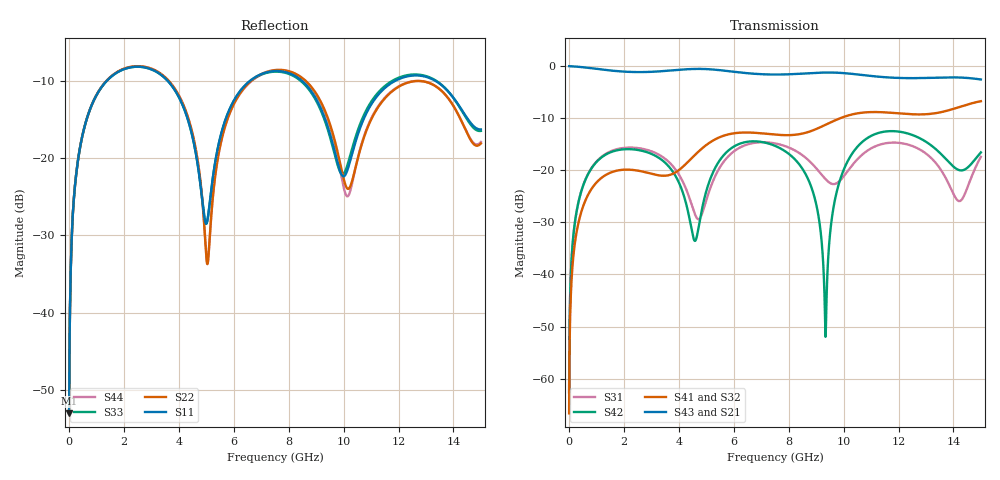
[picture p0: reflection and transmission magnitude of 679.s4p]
! Created with skrf 1.8.0 (http://scikit-rf.org).
# GHz S RI R 50.0
!freq ReS11 ImS11 ReS12 ImS12 ReS13 ImS13
! ReS14 ImS14
! ReS21 ImS21 ReS22 ImS22 ReS23 ImS23
! ReS24 ImS24
! ReS31 ImS31 ReS32 ImS32 ReS33 ImS33
! ReS34 ImS34
! ReS41 ImS41 ReS42 ImS42 ReS43 ImS43
! ReS44 ImS44
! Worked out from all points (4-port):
!   2499 points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, 5 MHz to 15 GHz, reference 50 ohm
!   strongest paths, dB at 5 MHz, 3.476 GHz, 7.19 GHz, 11.1 GHz, 15 GHz:
!     S43: 0.0, -0.9, -1.6, -1.9, -2.6
!     S21: 0.0, -0.9, -1.6, -1.9, -2.6
!     S41: -66.7, -21.1, -13.0, -8.8, -6.7
!     S32: -66.7, -21.1, -13.0, -8.9, -6.7
!     S42: -62.6, -18.4, -14.8, -13.2, -16.6
!     S31: -62.6, -17.7, -14.6, -15.5, -17.4
!   lowest |S11| = -53.0 dB at 5 MHz (marker M1), VSWR 1.00, Z = 50.2 + j0.136 ohm
!   |S11| at or under -10 dB: 3.59 GHz to 6.598 GHz (3.007 GHz wide, 59 % of centre); 8.474 GHz to 11.89 GHz (3.416 GHz wide, 33.5 % of centre); 13.33 GHz to end of sweep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
0.005  0.00179 0.00135  0.9982 -0.00348  9.11e-05 0.000733  -8.82e-05 -0.000456
       0.9982 -0.00348  0.00179 0.00135  -8.82e-05 -0.000456  9.09e-05 0.000733
       9.11e-05 0.000733  -8.82e-05 -0.000456  0.00179 0.00135  0.9982 -0.00348
       -8.82e-05 -0.000456  9.09e-05 0.000733  0.9982 -0.00348  0.00179 0.00135
1.469362  0.2776 0.174  0.5282 -0.7406  0.1397 0.0547  -0.0939 -0.0025
          0.5282 -0.7406  0.2806 0.172  -0.0938 -0.00254  0.131 0.0671
          0.1397 0.0547  -0.0938 -0.00254  0.2776 0.174  0.5282 -0.7406
          -0.0939 -0.0025  0.131 0.0671  0.5282 -0.7406  0.2806 0.172
5.095873  0.0402 0.0233  -0.9327 -0.0175  -0.0142 0.0602  0.00296 0.1822
          -0.9327 -0.0175  0.022 0.0129  0.00222 0.1822  0.0368 0.0663
          -0.0142 0.0602  0.00222 0.1822  0.0401 0.0226  -0.9327 -0.018
          0.00296 0.1822  0.0368 0.0663  -0.9327 -0.018  0.022 0.0121
8.197165  0.3272 -0.0989  0.1914 0.8145  0.0885 -0.1291  0.1948 -0.0993
          0.1914 0.8145  0.3384 -0.105  0.1952 -0.0981  0.1034 -0.0783
          0.0885 -0.1291  0.1952 -0.0981  0.3234 -0.0963  0.1921 0.8162
          0.1948 -0.0993  0.1034 -0.0783  0.1921 0.8162  0.3332 -0.1054
9.341392  0.1294 -0.1186  0.6974 0.5132  -0.063 -0.0528  0.1547 -0.2252
          0.6974 0.5132  0.1329 -0.1474  0.1557 -0.2241  0.00252 0.000108
          -0.063 -0.0528  0.1557 -0.2241  0.128 -0.1113  0.6995 0.5125
          0.1547 -0.2252  0.00252 0.000108  0.6995 0.5125  0.1256 -0.144
10.62943  0.1283 0.0976  0.8093 -0.1611  0.043 0.1306  -0.0998 -0.3415
          0.8093 -0.1611  0.0959 0.0678  -0.0972 -0.3408  0.1298 0.1275
          0.043 0.1306  -0.0972 -0.3408  0.1354 0.1038  0.808 -0.1626
          -0.0998 -0.3415  0.1298 0.1275  0.808 -0.1626  0.0917 0.0759
15  0.151 -0.0252  -0.7087 -0.2268  -0.00104 0.1345  -0.1293 0.4416
    -0.7087 -0.2268  0.1231 0.0179  -0.1352 0.4404  -0.0755 0.1278
    -0.00104 0.1345  -0.1352 0.4404  0.1482 -0.0216  -0.7086 -0.2277
    -0.1293 0.4416  -0.0755 0.1278  -0.7086 -0.2277  0.1251 0.0219
